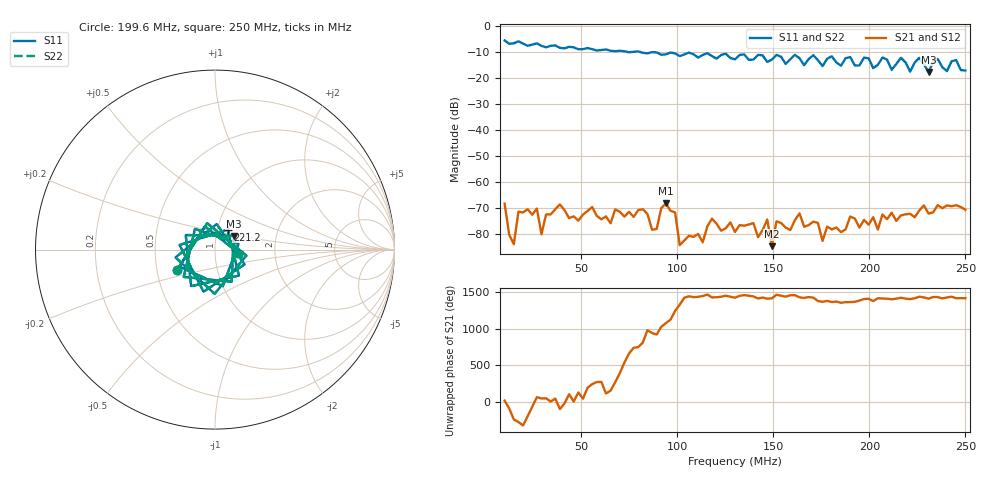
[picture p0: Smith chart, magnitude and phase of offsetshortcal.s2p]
# Hz S RI R 50
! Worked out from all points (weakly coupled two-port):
!   101 points, 10 MHz to 250 MHz, reference 50 ohm
!   highest |S21| = -68.22 dB at 94 MHz (marker M1); lowest = -84.7 dB at 149.2 MHz (marker M2)
!   lowest |S11| = -17.8 dB at 230.8 MHz (marker M3), VSWR 1.30, Z = 60.9 + j9.39 ohm
!   |S11| at or under -10 dB: 73.83 MHz to 76.96 MHz (3.13 MHz wide, 4.15 % of centre); 80.37 MHz to end of sweep
!   |S22| runs from -17.8 to -5.6 dB; largest |S21 - S12| = 0
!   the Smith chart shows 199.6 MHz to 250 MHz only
!   S11 on the Smith chart (normalised r, x): 199.6 MHz: 0.64, -0.15; 221.2 MHz: 1.12, +0.25; 250 MHz: 1.31, -0.06
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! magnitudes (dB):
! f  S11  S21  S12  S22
! 10 MHz  -5.6  -68.3  -68.3  -5.6
! 12.4 MHz  -6.9  -80.3  -80.3  -6.9
! 22 MHz  -7.7  -70.4  -70.4  -7.7
! 26.8 MHz  -6.7  -70.2  -70.2  -6.7
! 29.2 MHz  -7.7  -80.1  -80.1  -7.7
! 38.8 MHz  -8.5  -68.6  -68.6  -8.5
! 50.8 MHz  -9.0  -72.6  -72.6  -9.0
! 82 MHz  -10.4  -70.5  -70.5  -10.4
! 86.8 MHz  -10.1  -78.4  -78.4  -10.1
! 91.6 MHz  -11.1  -70.0  -70.0  -11.1
! 94 MHz  -11.0  -68.2  -68.2  -11.0
! 101.2 MHz  -11.7  -84.3  -84.3  -11.7
! 118 MHz  -11.6  -74.1  -74.1  -11.6
! 130 MHz  -12.9  -79.2  -79.2  -12.9
! 146.8 MHz  -13.9  -74.4  -74.4  -13.9
! 149.2 MHz  -13.0  -84.7  -84.7  -13.0
! 170.8 MHz  -11.3  -75.2  -75.2  -11.3
! 199.6 MHz  -12.5  -76.4  -76.4  -12.5
! 211.6 MHz  -16.9  -71.8  -71.8  -16.9
! 221.2 MHz  -17.6  -72.2  -72.2  -17.6
! 230.8 MHz  -17.8  -72.1  -72.1  -17.8
! 250 MHz  -17.2  -70.6  -70.6  -17.2
